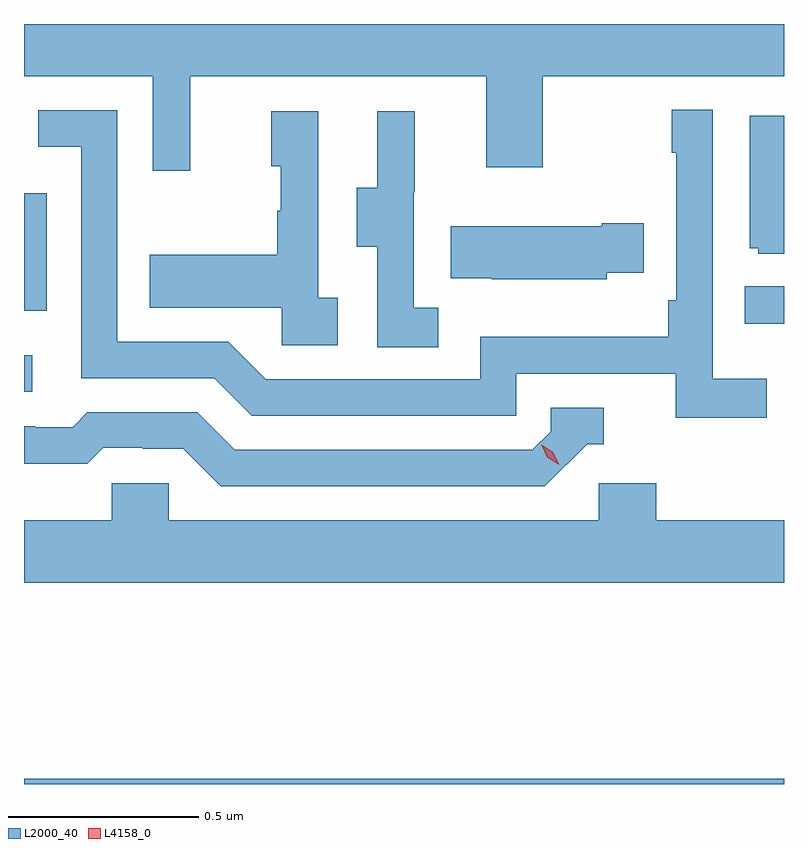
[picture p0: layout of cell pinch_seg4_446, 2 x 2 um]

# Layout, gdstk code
import gdstk
lib = gdstk.Library(unit=1e-6, precision=1e-09)
def R(c, l, rs):  # rectangles x0, y0, x1, y1
    for r in rs: c.add(gdstk.rectangle(r[:2], r[2:], *l))
def P(c, l, *ps):  # polygons
    for p in ps: c.add(gdstk.Polygon(p, *l))
L2000_40 = (2000, 40)
L4158_0 = (4158, 0)

pinch_seg4_446 = lib.new_cell('pinch_seg4_446')
R(pinch_seg4_446, L2000_40, [(946.428,785.634,948.428,785.648), (946.428,786.666,946.45,786.762), (948.325,786.845,948.428,786.944), (946.428,786.879,946.488,787.188)])
P(pinch_seg4_446, L2000_40, [(946.865,787.496),(947.645,787.496),(947.645,787.257),(947.793,787.257),(947.793,787.496),(948.428,787.496),(948.428,787.634),(946.428,787.634),(946.428,787.496),(946.767,787.496),(946.767,787.248),(946.865,787.248)],
  [(948.382,786.7),(948.24,786.7),(948.24,787.408),(948.132,787.408),(948.132,787.295),(948.144,787.295),(948.144,786.907),(948.124,786.907),(948.124,786.811),(947.628,786.811),(947.628,786.699),(947.064,786.699),(946.965,786.798),(946.674,786.798),(946.674,787.407),(946.465,787.407),(946.465,787.311),(946.578,787.311),(946.578,786.702),(946.928,786.702),(947.027,786.603),(947.724,786.603),(947.724,786.714),(948.143,786.714),(948.143,786.598),(948.382,786.598)],
  [(947.518,786.887),(947.454,786.887),(947.454,787.191),(947.456,787.191),(947.456,787.405),(947.357,787.405),(947.357,787.203),(947.303,787.203),(947.303,787.048),(947.358,787.048),(947.358,786.784),(947.518,786.784)],
  [(947.254,786.914),(947.202,786.914),(947.202,787.405),(947.078,787.405),(947.078,787.26),(947.104,787.26),(947.104,787.142),(947.094,787.142),(947.094,787.027),(946.759,787.027),(946.759,786.887),(947.106,786.887),(947.106,786.789),(947.254,786.789)],
  [(948.428,787.393),(948.338,787.393),(948.338,787.044),(948.36,787.044),(948.36,787.029),(948.428,787.029)],
  [(947.961,786.98),(948.059,786.98),(948.059,787.11),(947.948,787.11),(947.948,787.102),(947.551,787.102),(947.551,786.965),(947.659,786.965),(947.659,786.962),(947.961,786.962)],
  [(947.91,786.528),(947.953,786.528),(947.953,786.624),(947.814,786.624),(947.814,786.561),(947.766,786.513),(946.983,786.513),(946.884,786.612),(946.595,786.612),(946.556,786.573),(946.457,786.573),(946.457,786.576),(946.428,786.576),(946.428,786.477),(946.595,786.477),(946.637,786.519),(946.74,786.519),(946.74,786.516),(946.847,786.516),(946.946,786.417),(947.799,786.417)],
  [(948.428,786.328),(948.092,786.328),(948.092,786.426),(947.94,786.426),(947.94,786.328),(946.809,786.328),(946.809,786.426),(946.659,786.426),(946.659,786.328),(946.428,786.328),(946.428,786.164),(948.428,786.164)])
P(pinch_seg4_446, L4158_0, [(947.836,786.474),(947.805,786.494),(947.79,786.526),(947.79,786.527),(947.79,786.527),(947.82,786.507),(947.836,786.474),(947.836,786.474)])

lib.write_gds('pinch_seg4_446.gds')
